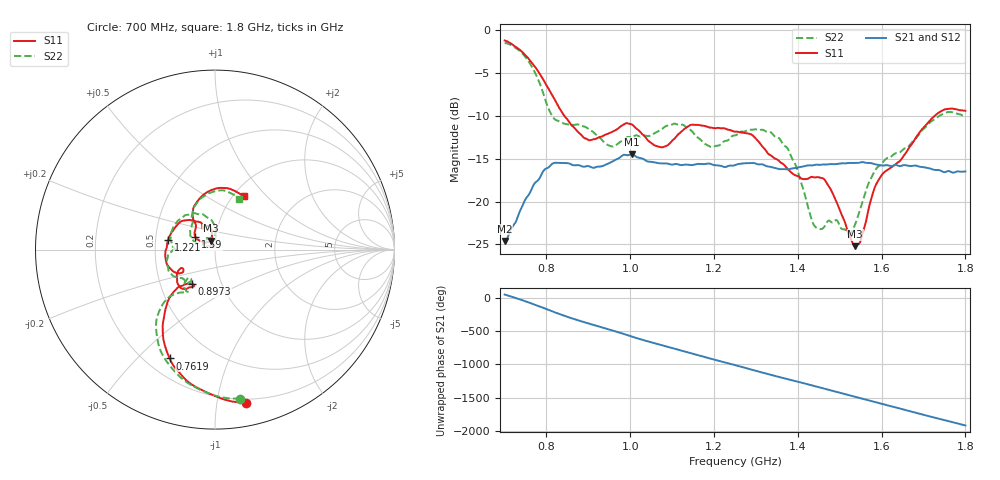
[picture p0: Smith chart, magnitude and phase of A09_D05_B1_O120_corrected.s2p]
! Created with skrf 1.9.0 (http://scikit-rf.org).
# Hz S RI R 50.0
!freq ReS11 ImS11 ReS21 ImS21 ReS12 ImS12 ReS22 ImS22
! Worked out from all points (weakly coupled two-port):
!   1601 points, 700 MHz to 1.8 GHz, reference 50 ohm
!   highest |S21| = -14.50 dB at 1.004 GHz (marker M1); lowest = -24.6 dB at 700.7 MHz (marker M2)
!   lowest |S11| = -25.2 dB at 1.537 GHz (marker M3), VSWR 1.12, Z = 47.4 + j4.67 ohm
!   |S11| at or under -10 dB: 842.4 MHz to 1.727 GHz (884.5 MHz wide, 68.9 % of centre)
!   |S22| runs from -23.8 to -1.5 dB; largest |S21 - S12| = 0.0035
!   S11 on the Smith chart (normalised r, x): 700 MHz: 0.17, -1.21; 761.9 MHz: 0.29, -0.63; 897.3 MHz: 0.72, -0.29; 1.221 GHz: 0.58, +0.07; 1.59 GHz: 0.80, +0.11; 1.8 GHz: 1.12, +0.75
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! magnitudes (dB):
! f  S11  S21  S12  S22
! 700 MHz  -1.2  -24.6  -24.4  -1.5
! 700.7 MHz  -1.2  -24.6  -24.3  -1.5
! 761.9 MHz  -3.6  -18.8  -18.8  -4.0
! 816.9 MHz  -7.9  -15.5  -15.6  -10.3
! 883.6 MHz  -12.3  -15.9  -15.8  -11.2
! 897.3 MHz  -12.7  -15.9  -15.9  -11.4
! 954.4 MHz  -11.9  -15.4  -15.4  -13.6
! 1.004 GHz  -11.0  -14.5  -14.6  -12.5
! 1.067 GHz  -13.6  -15.5  -15.5  -11.8
! 1.145 GHz  -11.1  -15.7  -15.8  -11.7
! 1.221 GHz  -11.5  -15.9  -16.0  -13.1
! 1.25 GHz  -11.8  -15.8  -15.7  -12.3
! 1.357 GHz  -15.3  -16.2  -16.2  -12.7
! 1.395 GHz  -16.9  -16.1  -16.1  -15.8
! 1.434 GHz  -17.1  -15.8  -15.8  -22.2
! 1.471 GHz  -18.0  -15.7  -15.7  -22.3
! 1.537 GHz  -25.2  -15.5  -15.5  -22.7
! 1.55 GHz  -24.5  -15.4  -15.5  -20.7
! 1.59 GHz  -17.7  -15.7  -15.7  -16.0
! 1.617 GHz  -16.2  -15.8  -15.8  -14.9
! 1.733 GHz  -9.8  -16.3  -16.4  -10.2
! 1.8 GHz  -9.4  -16.5  -16.5  -10.0
